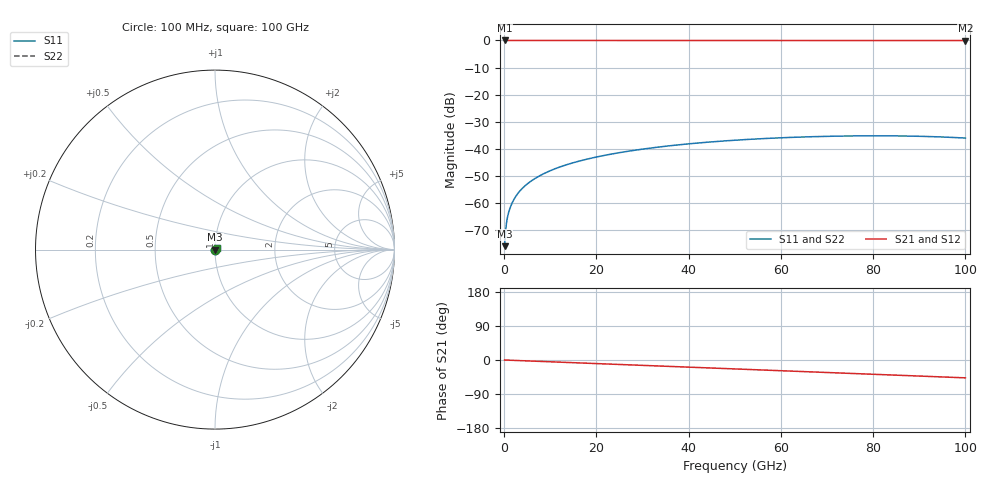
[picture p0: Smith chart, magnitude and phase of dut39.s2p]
! Touchstone file exported from HFSS 2026.1.0
!  File:  C:/ffzhzh/LocalFiles/Ansys_Project_Files/temp_train_TSV_39_1783504739_55944.aedt
!  Generated:  06:00:26 PM Jul  8, 2026
!  Design:  TSV
!  Project:  temp_train_TSV_39_1783504739_55944
! Variables:
!  h_bsmrdl = 2um
!  h_ox = 20um
!  h_rdl = 5um
!  h_sub = 96.49um
!  h_tmrdl = 5um
!  h_tsv = 96.49um
!  h_via = 3um
!  l_bsmrdl = 300um
!  l_sub = 421.04um
!  l_tmrdl = 200um
!  m_sub = 200um
!  pitch = 44.79um
!  r_tsv = 10.52um
!  s_tmrdl = 10um
!  w_bsmrdl = 18um
!  w_sub = 500um
!  w_tmrdl = 12um
!  x_tsv_center1 = 206um
!  x_tsv_center2 = 524um
!  x_tsv_center3 = 736um
!  x_tsv_center4 = 1054um
!  x_tsv_center5 = 1266um
!  x_tsv_center6 = 1584um
# GHz S MA R 50.000000
! Terminal data exported
! Port[1] = TSV1_1_T1
! Port[2] = TSV1_1_T2
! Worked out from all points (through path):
!   1000 points, 100 MHz to 100 GHz, reference 50 ohm
!   highest |S21| = 0.00 dB at 100 MHz (marker M1); lowest = 0.0 dB at 100 GHz (marker M2)
!   group delay of S21, straight-line fit = 1.31 ps
!   lowest |S11| = -75.9 dB at 100 MHz (marker M3), VSWR 1.00, Z = 50 + j0.00843 ohm
!   |S11| at or under -10 dB: start of sweep to end of sweep
!   |S22| runs from -75.9 to -35.2 dB; largest |S21 - S12| = 4.4e-15
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0.1  0.0001601 31.8  0.9999 -0.0  0.9999 -0.0  0.0001601 31.8
! Gamma 0 0 0 0
! Port Impedance 50 0 50 0
0.4  0.0003615 56.6  0.9998 -0.2  0.9998 -0.2  0.0003615 56.6
0.8  0.0005871 60.2  0.9997 -0.4  0.9997 -0.4  0.0005871 60.2
1  0.0006827 61.2  0.9997 -0.5  0.9997 -0.5  0.0006827 61.2
1.3  0.0008176 62.7  0.9996 -0.6  0.9996 -0.6  0.0008176 62.7
1.8  0.001032 64.5  0.9996 -0.9  0.9996 -0.9  0.001032 64.5
2.4  0.001279 66.0  0.9995 -1.2  0.9995 -1.2  0.001279 66.0
3.1  0.001553 67.1  0.9994 -1.5  0.9994 -1.5  0.001553 67.1
3.9  0.001853 68.0  0.9994 -1.9  0.9994 -1.9  0.001853 68.0
4.9  0.002214 68.8  0.9993 -2.3  0.9993 -2.3  0.002214 68.8
6.1  0.002635 69.5  0.9992 -2.9  0.9992 -2.9  0.002635 69.5
8.9  0.003587 70.2  0.999 -4.2  0.999 -4.2  0.003587 70.2
12.5  0.004766 70.0  0.9988 -5.9  0.9988 -5.9  0.004766 70.0
16.8  0.006105 69.3  0.9986 -7.9  0.9986 -7.9  0.006105 69.3
24.3  0.008313 67.4  0.9983 -11.4  0.9983 -11.4  0.008313 67.4
33.4  0.01077 64.4  0.998 -15.7  0.998 -15.7  0.01077 64.3
41.3  0.01266 61.3  0.9978 -19.4  0.9978 -19.4  0.01266 61.2
50.1  0.01445 57.5  0.9976 -23.6  0.9976 -23.6  0.01445 57.5
66.7  0.01674 50.1  0.9971 -31.4  0.9971 -31.4  0.01675 50.1
83.4  0.01738 42.1  0.9967 -39.2  0.9967 -39.2  0.01738 42.0
92  0.01688 37.6  0.9965 -43.3  0.9965 -43.3  0.01689 37.6
100  0.0158 33.5  0.9963 -47.1  0.9963 -47.1  0.0158 33.4
